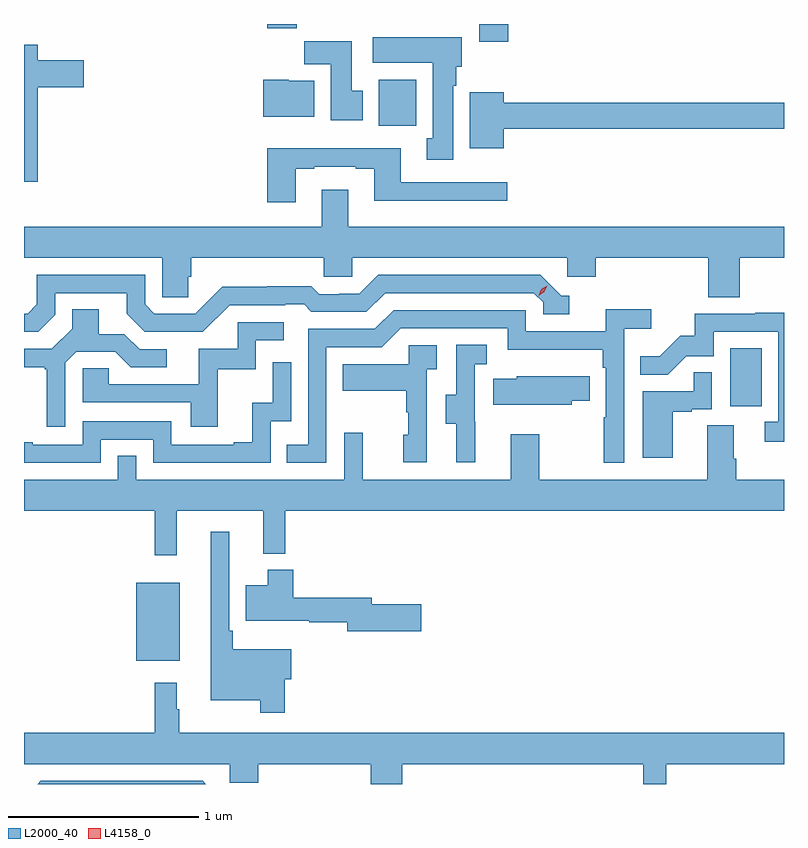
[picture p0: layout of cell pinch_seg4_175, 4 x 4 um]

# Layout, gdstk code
import gdstk
lib = gdstk.Library(unit=1e-6, precision=1e-09)
def R(c, l, rs):  # rectangles x0, y0, x1, y1
    for r in rs: c.add(gdstk.rectangle(r[:2], r[2:], *l))
def P(c, l, *ps):  # polygons
    for p in ps: c.add(gdstk.Polygon(p, *l))
L2000_40 = (2000, 40)
L4158_0 = (4158, 0)

pinch_seg4_175 = lib.new_cell('pinch_seg4_175')
R(pinch_seg4_175, L2000_40, [(1092.638,794.699,1092.865,795.109), (1095.764,796.038,1095.928,796.345), (1093.913,797.516,1094.11,797.758), (1094.441,797.958,1094.594,798.051), (1093.325,798.028,1093.481,798.051)])
P(pinch_seg4_175, L2000_40, [(1094.305,797.726),(1094.32,797.726),(1094.32,797.826),(1094.35,797.826),(1094.35,797.98),(1093.881,797.98),(1093.881,797.846),(1094.198,797.846),(1094.198,797.45),(1094.165,797.45),(1094.165,797.337),(1094.305,797.337)],
  [(1093.828,797.7),(1093.771,797.7),(1093.771,797.959),(1093.522,797.959),(1093.522,797.84),(1093.661,797.84),(1093.661,797.544),(1093.828,797.544)],
  [(1092.118,797.717),(1092.361,797.717),(1092.361,797.859),(1092.118,797.859),(1092.118,797.941),(1092.046,797.941),(1092.046,797.22),(1092.118,797.22)],
  [(1093.573,797.752),(1093.44,797.752),(1093.44,797.758),(1093.304,797.758),(1093.304,797.564),(1093.573,797.564)],
  [(1094.572,797.5),(1096.046,797.5),(1096.046,797.636),(1094.572,797.636),(1094.572,797.692),(1094.393,797.692),(1094.393,797.396),(1094.572,797.396)],
  [(1093.477,797.289),(1093.573,797.289),(1093.573,797.301),(1093.793,797.301),(1093.793,797.289),(1093.889,797.289),(1093.889,797.12),(1094.59,797.12),(1094.59,797.217),(1094.029,797.217),(1094.029,797.398),(1093.325,797.398),(1093.325,797.112),(1093.477,797.112)],
  [(1092.911,796.722),(1092.926,796.722),(1092.926,796.82),(1093.623,796.82),(1093.623,796.722),(1093.773,796.722),(1093.773,796.82),(1094.904,796.82),(1094.904,796.722),(1095.056,796.722),(1095.056,796.82),(1095.647,796.82),(1095.647,796.612),(1095.812,796.612),(1095.812,796.82),(1096.046,796.82),(1096.046,796.984),(1093.753,796.984),(1093.753,797.179),(1093.613,797.179),(1093.613,796.984),(1092.046,796.984),(1092.046,796.82),(1092.774,796.82),(1092.774,796.612),(1092.911,796.612)],
  [(1092.21,796.521),(1092.21,796.635),(1092.587,796.635),(1092.587,796.525),(1092.681,796.431),(1092.987,796.431),(1093.128,796.572),(1093.421,796.572),(1093.421,796.575),(1093.52,796.575),(1093.559,796.536),(1093.848,796.536),(1093.947,796.635),(1094.73,796.635),(1094.778,796.587),(1094.778,796.524),(1094.917,796.524),(1094.917,796.62),(1094.874,796.62),(1094.763,796.731),(1093.91,796.731),(1093.811,796.632),(1093.704,796.632),(1093.704,796.629),(1093.601,796.629),(1093.559,796.672),(1093.326,796.672),(1093.326,796.669),(1093.09,796.669),(1092.948,796.527),(1092.732,796.527),(1092.684,796.575),(1092.684,796.731),(1092.114,796.731),(1092.114,796.575),(1092.066,796.527),(1092.046,796.527),(1092.046,796.431),(1092.12,796.431)],
  [(1092.264,796.269),(1092.321,796.326),(1092.527,796.326),(1092.608,796.245),(1092.796,796.245),(1092.796,796.338),(1092.654,796.338),(1092.574,796.418),(1092.439,796.418),(1092.439,796.55),(1092.299,796.55),(1092.299,796.448),(1092.192,796.341),(1092.046,796.341),(1092.046,796.244),(1092.156,796.244),(1092.156,796.233),(1092.167,796.233),(1092.167,795.93),(1092.264,795.93)],
  [(1093.638,796.35),(1093.929,796.35),(1094.028,796.449),(1094.592,796.449),(1094.592,796.337),(1095.091,796.337),(1095.091,796.241),(1095.108,796.241),(1095.108,795.98),(1095.096,795.98),(1095.096,795.741),(1095.204,795.741),(1095.204,796.448),(1095.346,796.448),(1095.346,796.55),(1095.107,796.55),(1095.107,796.434),(1094.688,796.434),(1094.688,796.545),(1093.991,796.545),(1093.892,796.446),(1093.542,796.446),(1093.542,795.837),(1093.429,795.837),(1093.429,795.741),(1093.638,795.741)],
  [(1096.046,796.532),(1095.895,796.532),(1095.895,796.527),(1095.577,796.527),(1095.577,796.41),(1095.5,796.41),(1095.393,796.303),(1095.289,796.303),(1095.289,796.204),(1095.433,796.204),(1095.531,796.302),(1095.675,796.302),(1095.675,796.431),(1096.017,796.431),(1096.017,795.957),(1095.945,795.957),(1095.945,795.852),(1096.046,795.852)],
  [(1093.067,796.233),(1093.266,796.233),(1093.266,796.386),(1093.414,796.386),(1093.414,796.482),(1093.17,796.482),(1093.17,796.341),(1092.965,796.341),(1092.965,796.155),(1092.491,796.155),(1092.491,796.239),(1092.354,796.239),(1092.354,796.059),(1092.923,796.059),(1092.923,795.93),(1093.067,795.93)],
  [(1094.42,795.957),(1094.418,795.957),(1094.418,796.261),(1094.482,796.261),(1094.482,796.364),(1094.322,796.364),(1094.322,796.101),(1094.267,796.101),(1094.267,795.946),(1094.321,795.946),(1094.321,795.744),(1094.42,795.744)],
  [(1094.166,796.235),(1094.218,796.235),(1094.218,796.359),(1094.07,796.359),(1094.07,796.261),(1093.723,796.261),(1093.723,796.121),(1094.058,796.121),(1094.058,796.007),(1094.068,796.007),(1094.068,795.888),(1094.042,795.888),(1094.042,795.744),(1094.166,795.744)],
  [(1092.45,795.864),(1092.726,795.864),(1092.726,795.741),(1093.344,795.741),(1093.344,795.96),(1093.452,795.96),(1093.452,796.27),(1093.356,796.27),(1093.356,796.058),(1093.247,796.058),(1093.247,795.85),(1093.151,795.85),(1093.151,795.837),(1092.822,795.837),(1092.822,795.96),(1092.354,795.96),(1092.354,795.837),(1092.091,795.837),(1092.091,795.85),(1092.046,795.85),(1092.046,795.741),(1092.45,795.741)],
  [(1095.46,796.011),(1095.56,796.011),(1095.56,796.023),(1095.666,796.023),(1095.666,796.217),(1095.571,796.217),(1095.571,796.119),(1095.302,796.119),(1095.302,795.768),(1095.46,795.768)],
  [(1094.929,796.069),(1095.023,796.069),(1095.023,796.197),(1094.912,796.197),(1094.912,796.198),(1094.64,796.198),(1094.64,796.183),(1094.515,796.183),(1094.515,796.046),(1094.929,796.046)],
  [(1092.851,795.488),(1093.304,795.488),(1093.304,795.263),(1093.421,795.263),(1093.421,795.488),(1096.046,795.488),(1096.046,795.652),(1095.794,795.652),(1095.794,795.764),(1095.781,795.764),(1095.781,795.938),(1095.641,795.938),(1095.641,795.652),(1094.757,795.652),(1094.757,795.892),(1094.609,795.892),(1094.609,795.652),(1093.829,795.652),(1093.829,795.901),(1093.731,795.901),(1093.731,795.652),(1092.636,795.652),(1092.636,795.779),(1092.54,795.779),(1092.54,795.652),(1092.046,795.652),(1092.046,795.488),(1092.733,795.488),(1092.733,795.255),(1092.851,795.255)],
  [(1093.418,794.603),(1093.453,794.603),(1093.453,794.761),(1093.145,794.761),(1093.145,794.857),(1093.125,794.857),(1093.125,795.379),(1093.028,795.379),(1093.028,794.492),(1093.29,794.492),(1093.29,794.427),(1093.418,794.427)],
  [(1094.137,794.997),(1093.876,794.997),(1093.876,795.031),(1093.463,795.031),(1093.463,795.178),(1093.328,795.178),(1093.328,795.097),(1093.214,795.097),(1093.214,794.909),(1093.546,794.909),(1093.546,794.902),(1093.748,794.902),(1093.748,794.855),(1094.137,794.855)],
  [(1094.036,794.156),(1095.305,794.156),(1095.305,794.051),(1095.427,794.051),(1095.427,794.156),(1096.046,794.156),(1096.046,794.32),(1092.862,794.32),(1092.862,794.444),(1092.85,794.444),(1092.85,794.584),(1092.733,794.584),(1092.733,794.32),(1092.046,794.32),(1092.046,794.156),(1093.128,794.156),(1093.128,794.058),(1093.28,794.058),(1093.28,794.156),(1093.871,794.156),(1093.871,794.051),(1094.036,794.051)],
  [(1092.987,794.067),(1092.134,794.067),(1092.118,794.051),(1093.003,794.051)])
P(pinch_seg4_175, L4158_0, [(1094.754,796.621),(1094.754,796.621),(1094.769,796.654),(1094.799,796.674),(1094.8,796.674),(1094.8,796.674),(1094.784,796.641),(1094.754,796.621)])

lib.write_gds('pinch_seg4_175.gds')
